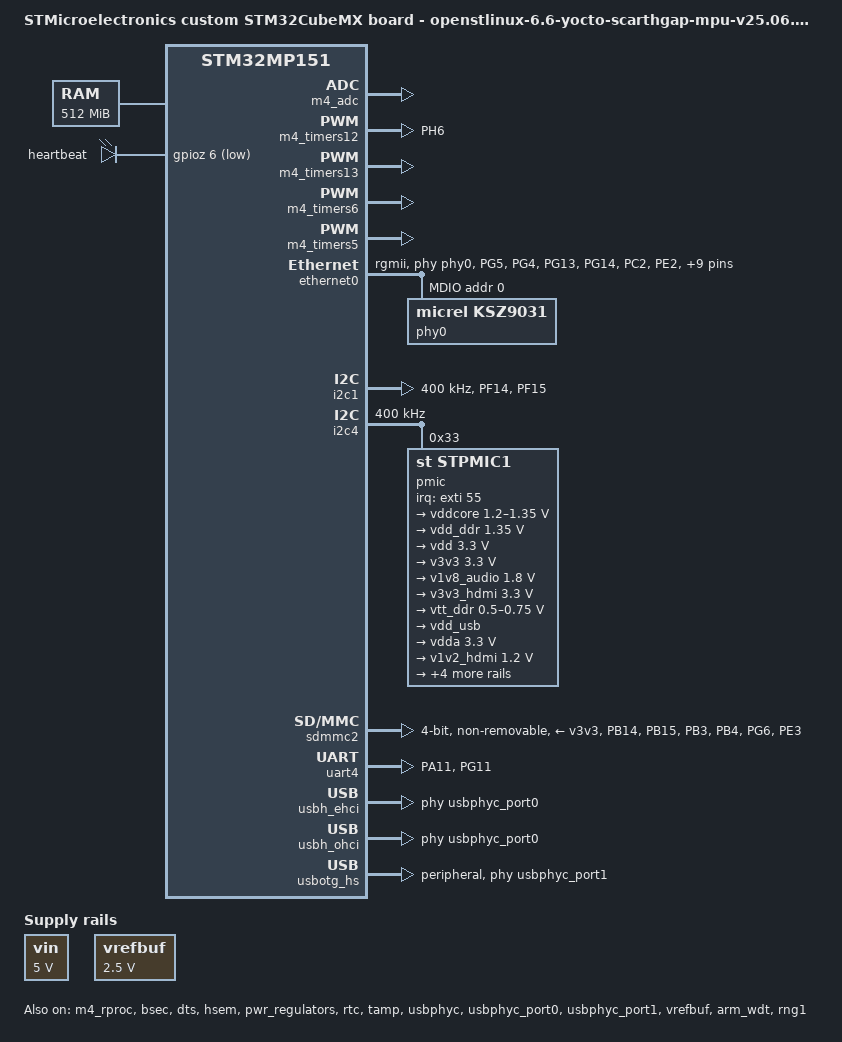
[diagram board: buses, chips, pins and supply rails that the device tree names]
// SPDX-License-Identifier: (GPL-2.0-or-later OR BSD-3-Clause)
/*
 * Copyright (C) 2025, STMicroelectronics - All Rights Reserved
 * Author: STM32CubeMX code generation for STMicroelectronics.
 */

/* For more information on Device Tree configuration, please refer to
 * https://wiki.st.com/stm32mpu/wiki/Category:Device_tree_configuration
 */

/dts-v1/;

#include <dt-bindings/pinctrl/stm32-pinfunc.h>
#include "stm32mp151.dtsi"
#include "stm32mp15xa.dtsi"
#include "stm32mp15xxac-pinctrl.dtsi"
#include "stm32mp15-m4-srm.dtsi"

/* USER CODE BEGIN includes */
#include "stm32mp15-scmi.dtsi"
#include <dt-bindings/gpio/gpio.h>
#include <dt-bindings/mfd/st,stpmic1.h>
#include <dt-bindings/rtc/rtc-stm32.h>
#include "stm32mp15-pinctrl.dtsi"
/* USER CODE END includes */

/*UBOOT*/

/ {
	model = "STMicroelectronics custom STM32CubeMX board - openstlinux-6.6-yocto-scarthgap-mpu-v25.06.11";
	compatible = "st,stm32mp151a-ap31085500a-mx", "st,stm32mp151";

	memory@c0000000 {
		device_type = "memory";
		reg = <0xc0000000 0x20000000>;

		/* USER CODE BEGIN memory */
		/* USER CODE END memory */
	};

	reserved-memory {
		#address-cells = <1>;
		#size-cells = <1>;
		ranges;

		/* USER CODE BEGIN reserved-memory */
		mcuram2:mcuram2@10000000{
			compatible = "shared-dma-pool";
			reg = <0x10000000 0x40000>;
			no-map;
		};

		vdev0vring0:vdev0vring0@10040000{
			compatible = "shared-dma-pool";
			reg = <0x10040000 0x1000>;
			no-map;
		};

		vdev0vring1:vdev0vring1@10041000{
			compatible = "shared-dma-pool";
			reg = <0x10041000 0x1000>;
			no-map;
		};

		vdev0buffer:vdev0buffer@10042000{
			compatible = "shared-dma-pool";
			reg = <0x10042000 0x4000>;
			no-map;
		};

		mcu_rsc_table:mcu-rsc-table@10048000{
			compatible = "shared-dma-pool";
			reg = <0x10048000 0x8000>;
			no-map;
		};

		mcuram:mcuram@30000000{
			compatible = "shared-dma-pool";
			reg = <0x30000000 0x40000>;
			no-map;
		};

		retram:retram@38000000{
			compatible = "shared-dma-pool";
			reg = <0x38000000 0x10000>;
			no-map;
		};

		linux,cma{
			compatible = "shared-dma-pool";
			reusable;
			size = <0x8000000>;
			alignment = <0x2000>;
			linux,cma-default;
		};

		optee@de000000{
			reg = <0xde000000 0x2000000>;
			no-map;
		};
		/* USER CODE END reserved-memory */
	};

	/* USER CODE BEGIN root */
	aliases{
		ethernet0 = &ethernet0;
		serial0 = &uart4;
	};

	sound {
		status = "disabled";
	};
	
	config {
		u-boot,boot-led = "heartbeat";
	/*	u-boot,error-led = "error";*/
		u-boot,mmc-env-partition = "u-boot-env";
		st,fastboot-gpios = <&gpioa 13 (GPIO_ACTIVE_LOW | GPIO_PULL_UP)>;
		st,stm32prog-gpios = <&gpioa 14 (GPIO_ACTIVE_LOW | GPIO_PULL_UP)>;
	};

	led{
		compatible = "gpio-leds";

		led-blue{
			label = "heartbeat";
			gpios = <&gpioz 6 GPIO_ACTIVE_LOW>;
			linux,default-trigger = "heartbeat";
			/*linux,default-trigger = "timer";  Change from heartbeat -> timer */
			default-state = "off";
		};
		/*
		led-red {
			label = "error";
			gpios = <&gpioa 13 GPIO_ACTIVE_LOW>;
			default-state = "off";
		};*/
	};
	
	vin:vin{
		compatible = "regulator-fixed";
		regulator-name = "vin";
		regulator-min-microvolt = <5000000>;
		regulator-max-microvolt = <5000000>;
		regulator-always-on;
	};

	chosen{
		#address-cells = <1>;
		#size-cells = <1>;
		ranges;
		stdout-path = "serial0:115200n8";
	};
	/* USER CODE END root */

	clocks{
		/* USER CODE END clocks */
	};

}; /*root*/

&pinctrl {

	eth1_pins_mx: eth1_mx-0 {
		pins1 {
			pinmux = <STM32_PINMUX('G', 5, AF11)>, /* ETH_RGMII_CLK125 */
						<STM32_PINMUX('G', 4, AF11)>, /* ETH_RGMII_GTX_CLK */
						 <STM32_PINMUX('G', 13, AF11)>, /* ETH_RGMII_TXD0 */
						 <STM32_PINMUX('G', 14, AF11)>, /* ETH_RGMII_TXD1 */
						 <STM32_PINMUX('C', 2, AF11)>, /* ETH_RGMII_TXD2 */
						 <STM32_PINMUX('E', 2, AF11)>, /* ETH_RGMII_TXD3 */
						 <STM32_PINMUX('B', 11, AF11)>, /* ETH_RGMII_TX_CTL */
						 <STM32_PINMUX('A', 2, AF11)>, /* ETH_MDIO */
						 <STM32_PINMUX('C', 1, AF11)>; /* ETH_MDC */
					bias-disable;
					drive-push-pull;
					slew-rate = <2>;
		};
		pins2 {
			pinmux = <STM32_PINMUX('C', 4, AF11)>, /* ETH_RGMII_RXD0 */
						 <STM32_PINMUX('C', 5, AF11)>, /* ETH_RGMII_RXD1 */
						 <STM32_PINMUX('B', 0, AF11)>, /* ETH_RGMII_RXD2 */
						 <STM32_PINMUX('B', 1, AF11)>, /* ETH_RGMII_RXD3 */
						 <STM32_PINMUX('A', 1, AF11)>, /* ETH_RGMII_RX_CLK */
						 <STM32_PINMUX('A', 7, AF11)>; /* ETH_RGMII_RX_CTL */
					bias-disable;
		};
	};

	eth1_sleep_pins_mx: eth1_sleep_mx-0 {
		pins {
			pinmux = <STM32_PINMUX('G', 5, ANALOG)>, /* ETH_RGMII_CLK125 */
						<STM32_PINMUX('G', 4, ANALOG)>, /* ETH_RGMII_GTX_CLK */
						 <STM32_PINMUX('G', 13, ANALOG)>, /* ETH_RGMII_TXD0 */
						 <STM32_PINMUX('G', 14, ANALOG)>, /* ETH_RGMII_TXD1 */
						 <STM32_PINMUX('C', 2, ANALOG)>, /* ETH_RGMII_TXD2 */
						 <STM32_PINMUX('E', 2, ANALOG)>, /* ETH_RGMII_TXD3 */
						 <STM32_PINMUX('B', 11, ANALOG)>, /* ETH_RGMII_TX_CTL */
						 <STM32_PINMUX('A', 2, ANALOG)>, /* ETH_MDIO */
						 <STM32_PINMUX('C', 1, ANALOG)>, /* ETH_MDC */
						 <STM32_PINMUX('C', 4, ANALOG)>, /* ETH_RGMII_RXD0 */
						 <STM32_PINMUX('C', 5, ANALOG)>, /* ETH_RGMII_RXD1 */
						 <STM32_PINMUX('B', 0, ANALOG)>, /* ETH_RGMII_RXD2 */
						 <STM32_PINMUX('B', 1, ANALOG)>, /* ETH_RGMII_RXD3 */
						 <STM32_PINMUX('A', 1, ANALOG)>, /* ETH_RGMII_RX_CLK */
						 <STM32_PINMUX('A', 7, ANALOG)>; /* ETH_RGMII_RX_CTL */
		};
	};
  
	/* PWM Add cubeMX */
	m4_tim12_pins_mx: m4_tim12_mx-0 {
		pins {
			pinmux = <STM32_PINMUX('H', 6, RSVD)>; /* TIM12_CH1 */
		};
	};

	/*I2C1*/
	i2c1_pins_mx: i2c1_mx-0 {
		pins {
			pinmux = 	<STM32_PINMUX('F', 14, AF5)>, /* I2C1_SCL */
					<STM32_PINMUX('F', 15, AF5)>; /* I2C1_SDA */
			bias-disable;
			drive-open-drain;
			slew-rate = <0>;
		};
	};

	i2c1_sleep_pins_mx: i2c1_sleep_mx-0 {
		pins {
			pinmux = 	<STM32_PINMUX('F', 14, ANALOG)>, /* I2C1_SCL */
					<STM32_PINMUX('F', 15, ANALOG)>; /* I2C1_SDA */
		};
	};
	/*I2C2*/
	i2c2_pins_mx: i2c2_mx-0 {
		pins {
			pinmux = <STM32_PINMUX('H', 4, AF4)>; /* I2C2_SCL */
			bias-disable;
			drive-open-drain;
			slew-rate = <1>; /*0 Low, 1 medium, .... very high 3*/
		};
	};

	i2c2_sleep_pins_mx: i2c2_sleep_mx-0 {
		pins {
			pinmux = <STM32_PINMUX('H', 4, ANALOG)>; /* I2C2_SCL */
		};
	};
	/*RTC*/
	rtc_pins_mx: rtc_mx-0 {
		pins {
			pinmux = <STM32_PINMUX('I', 8, ANALOG)>; /* RTC_LSCO */
		};
	};

	rtc_sleep_pins_mx: rtc_sleep_mx-0 {
		pins {
			pinmux = <STM32_PINMUX('I', 8, ANALOG)>; /* RTC_LSCO */
		};
	};
	
	sdmmc2_pins_mx: sdmmc2_mx-0 {
	
		pins1 {
			pinmux = <STM32_PINMUX('B', 14, AF9)>, /* SDMMC2_D0 */
				 <STM32_PINMUX('B', 15, AF9)>, /* SDMMC2_D1 */
				 <STM32_PINMUX('B', 3, AF9)>, /* SDMMC2_D2 */
				 <STM32_PINMUX('B', 4, AF9)>, /* SDMMC2_D3 */
				 <STM32_PINMUX('G', 6, AF10)>; /* SDMMC2_CMD */
			slew-rate = <1>;
			drive-push-pull;
			bias-pull-up;
		};
		pins2 {
			pinmux = <STM32_PINMUX('E', 3, AF9)>; /* SDMMC2_CK */
			slew-rate = <2>;
			drive-push-pull;
			bias-pull-up;
		};
	};
	/*still in push pull mode?*/
	sdmmc2_opendrain_pins_mx: sdmmc2_opendrain_mx-0 {
		pins1 {
			pinmux = <STM32_PINMUX('B', 3, AF9)>, /* SDMMC2_D2 */
					 <STM32_PINMUX('B', 4, AF9)>, /* SDMMC2_D3 */
					 <STM32_PINMUX('B', 15, AF9)>; /* SDMMC2_D1 */
			bias-disable;
			drive-push-pull;
			slew-rate = <1>;
		};
		pins2 {
			pinmux = <STM32_PINMUX('B', 14, AF9)>, /* SDMMC2_D0 */
					 <STM32_PINMUX('E', 3, AF9)>; /* SDMMC2_CK */
			bias-pull-up;
			drive-push-pull;
			slew-rate = <1>;
		};
		pins3 {
			pinmux = <STM32_PINMUX('G', 6, AF10)>; /* SDMMC2_CMD */
			bias-pull-up;
			drive-open-drain;
			slew-rate = <1>;
		};
	};

	sdmmc2_sleep_pins_mx: sdmmc2_sleep_mx-0 {
		pins {
			pinmux =  <STM32_PINMUX('B', 3, ANALOG)>, /* SDMMC2_D2 */
					 <STM32_PINMUX('B', 4, ANALOG)>, /* SDMMC2_D3 */
					 <STM32_PINMUX('B', 14, ANALOG)>, /* SDMMC2_D0 */
					 <STM32_PINMUX('B', 15, ANALOG)>, /* SDMMC2_D1 */
					 <STM32_PINMUX('E', 3, ANALOG)>, /* SDMMC2_CK */
					 <STM32_PINMUX('G', 6, ANALOG)>; /* SDMMC2_CMD */
		};
	};

	uart4_pins_mx: uart4_mx-0 {
		pins1 {
			pinmux = <STM32_PINMUX('A', 11, AF6)>; /* UART4_RX */
			bias-pull-up;
		};
		pins2 {
			pinmux = <STM32_PINMUX('G', 11, AF6)>; /* UART4_TX */
			bias-pull-up;
			drive-push-pull;
			slew-rate = <0>;
		};
	};

	uart4_idle_pins_mx: uart4_idle_mx-0 {
		pins1 {
			pinmux = <STM32_PINMUX('A', 11, AF6)>; /* UART4_RX */
			bias-pull-up;
		};
		pins2 {
			pinmux = <STM32_PINMUX('G', 11, ANALOG)>; /* UART4_TX */
		};
	};

	uart4_sleep_pins_mx: uart4_sleep_mx-0 {
		pins {
			pinmux = <STM32_PINMUX('A', 11, AF6)>, /* UART4_RX */
					 <STM32_PINMUX('G', 11, ANALOG)>; /* UART4_TX */
		};
	};
	/* USER CODE BEGIN pinctrl */
	/* USER CODE END pinctrl */
};

&pinctrl_z {
	/* USER CODE BEGIN pinctrl_z */
	i2c4_pins_z_mx: i2c4_mx-0 {
		pins {
			pinmux = <STM32_PINMUX('Z', 4, AF6)>, /* I2C4_SCL */
				<STM32_PINMUX('Z', 5, AF6)>; /* I2C4_SDA */
			bias-disable;
			drive-open-drain;
			slew-rate = <0>;
		};
	};

	i2c4_sleep_pins_z_mx: i2c4_sleep_mx-0 {
		pins {
			pinmux = <STM32_PINMUX('Z', 4, ANALOG)>, /* I2C4_SCL */
					 <STM32_PINMUX('Z', 5, ANALOG)>; /* I2C4_SDA */
		};
	};
	
	/*I2C2*/
	i2c2_pins_z_mx: i2c2_mx-0 {
		pins {
			pinmux = <STM32_PINMUX('Z', 7, AF3)>; /* I2C2_SDA */
			bias-disable;
			drive-open-drain;
			slew-rate = <1>; /*0 Low, 1 medium, .... very high 3*/
		};
	};

	i2c2_sleep_pins_z_mx: i2c2_sleep_mx-0 {
		pins {
			pinmux = <STM32_PINMUX('Z', 7, ANALOG)>; /* I2C2_SDA */
		};
	};
 
	/* USER CODE END pinctrl_z */
};

&m4_rproc{
	status = "okay";

	/* USER CODE BEGIN m4_rproc */
	resets = <&scmi_reset RST_SCMI_MCU>, <&scmi_reset RST_SCMI_MCU_HOLD_BOOT>;
	reset-names = "mcu_rst", "hold_boot";
	/*/delete-property/ st,syscfg-holdboot;*/
	mboxes = <&ipcc 0>, <&ipcc 1>, <&ipcc 2>, <&ipcc 3>;
	mbox-names = "vq0", "vq1", "shutdown", "detach";
	memory-region = <&retram>, <&mcuram>, <&mcuram2>, <&vdev0vring0>,
			<&vdev0vring1>, <&vdev0buffer>, <&mcu_rsc_table>;
	interrupt-parent = <&exti>;
	interrupts = <68 1>;
	wakeup-source;
	/* USER CODE END m4_rproc */

	m4_system_resources{
		status = "okay";

		/* USER CODE BEGIN m4_system_resources */
		/* sottonodi rproc-srm-dev, periferiche che assegni a M4
		serve al kernel, opzionalmente a uboot */
		/* USER CODE END m4_system_resources */
	};
};

/* ADC da CubeMX */
&m4_adc {
	status = "okay";

	/* USER CODE BEGIN m4_adc */
	/* USER CODE END m4_adc */
};

/* PWM da CubeMX */
&m4_timers12 {
	pinctrl-names = "default";
	pinctrl-0 = <&m4_tim12_pins_mx>;
	status = "okay";

	/* USER CODE BEGIN m4_timers12 */
	/* USER CODE END m4_timers12 */
};
&m4_timers13 {

	status = "okay";

	/* USER CODE BEGIN m4_timers12 */
	/* USER CODE END m4_timers12 */
};

&m4_timers6 {
	status = "okay";

	/* USER CODE BEGIN m4_timers6 */
	/* USER CODE END m4_timers6 */
};
&m4_timers5 {
	status = "okay";

	/* USER CODE BEGIN m4_timers6 */
	/* USER CODE END m4_timers6 */
};

/*OTP*/
&bsec{
	status = "okay";

	/* USER CODE BEGIN bsec */
	/* USER CODE END bsec */
};

&cec{
	status = "disabled";
	/* USER CODE BEGIN cec */
	/* USER CODE END cec */
};

&dma1{
	status = "okay";

	/* USER CODE BEGIN dma1 */
	/*resets = <&scmi_reset RST_SCMI_MDMA>;*/
	/* USER CODE END dma1 */
};

&dma2{
	status = "okay";

	/* USER CODE BEGIN dma2 */
	/* USER CODE END dma2 */
};

&dmamux1{
	status = "okay";

	dma-masters = <&dma1 &dma2>;
	dma-channels = <16>;

	/* USER CODE BEGIN dmamux1 */
	/* USER CODE END dmamux1 */
};

&dts {
	status = "okay";

	/* USER CODE BEGIN dts */
	/*Digital temperature sensor*/
	/* USER CODE END dts */
};

&ethernet0{
	/delete-property/ phy-handle;
	pinctrl-names = "default", "sleep";
	pinctrl-0 = <&eth1_pins_mx>;
	pinctrl-1 = <&eth1_sleep_pins_mx>;
	status = "okay";

	/*clocks*/
	st,ext-phyclk;
 
	/* USER CODE BEGIN ethernet0 rgmii-rxid */
	phy-mode = "rgmii";
	max-speed = <1000>;
	phy-handle = <&phy0>;

	mdio0{
		#address-cells = <1>;
		#size-cells = <0>;
		compatible = "snps,dwmac-mdio";

		phy0: ethernet-phy@0 {
		        compatible = "micrel,ksz9031", "ethernet-phy-id0022.1622", "ethernet-phy-ieee802.3-c22";
		         reg = <0>;
         
		         /* STARTING POINT: clock skew */
		        rxc-skew-ps = <2000>;
		        txc-skew-ps = <2000>;

		        /* di norma lasci a default i data/ctl, a meno di layout critico */
		        rxdv-skew-ps = <0>;
		        txen-skew-ps = <0>;
		};
	};
	/* USER CODE END ethernet0 */
};

&hsem{
	status = "okay";

	/* USER CODE BEGIN hsem */
	/* USER CODE END hsem */
};

&i2c1{
	pinctrl-names = "default", "sleep";
	pinctrl-0 = <&i2c1_pins_mx>;
	pinctrl-1 = <&i2c1_sleep_pins_mx>;
	status = "okay";

	/* USER CODE BEGIN i2c1 */
	i2c-scl-rising-time-ns = <185>;
	i2c-scl-falling-time-ns = <20>;
	clock-frequency = <400000>;
	/delete-property/ dmas;
	/delete-property/ dma-names;
	/* USER CODE END i2c1 */
};

&i2c4{
	pinctrl-names = "default", "sleep";
	pinctrl-0 = <&i2c4_pins_z_mx>;
	pinctrl-1 = <&i2c4_sleep_pins_z_mx>;
	status = "okay";

	/* USER CODE BEGIN i2c4 */
	i2c-scl-rising-time-ns = <185>;
	i2c-scl-falling-time-ns = <20>;
	clock-frequency = <400000>;
	/delete-property/ dmas;
	/delete-property/ dma-names;
	clocks = <&scmi_clk CK_SCMI_I2C4>;
	resets = <&scmi_reset RST_SCMI_I2C4>;
 
	pmic: stpmic@33 {
	compatible = "st,stpmic1";
	reg = <0x33>;
	/* interrupts-extended = <&exti_pwr 55 IRQ_TYPE_EDGE_FALLING>;*/
	interrupts-extended = <&exti 55 IRQ_TYPE_EDGE_FALLING>;
	interrupt-controller;
	#interrupt-cells = <2>;
	status = "okay";

		regulators {
			compatible = "st,stpmic1-regulators";
			
			buck1-supply = <&vin>;
			buck2-supply = <&vin>;
			buck3-supply = <&vin>;
			buck4-supply = <&vin>;
			ldo1-supply = <&v3v3>;
			ldo2-supply  = <&vin>;
			ldo3-supply = <&vdd_ddr>;
			ldo4-supply  = <&vin>;
			ldo5-supply  = <&vin>;
			ldo6-supply  = <&v3v3>;
			vref_ddr-supply = <&vin>;
			boost-supply = <&vin>;
			pwr_sw1-supply = <&bst_out>;
			pwr_sw2-supply = <&bst_out>;

			vddcore: buck1 {
				regulator-name = "vddcore";
				regulator-min-microvolt = <1200000>;
				regulator-max-microvolt = <1350000>;
				regulator-always-on;
				regulator-initial-mode = <0>;
				regulator-over-current-protection;
			};

			vdd_ddr: buck2 {
				regulator-name = "vdd_ddr";
				regulator-min-microvolt = <1350000>;
				regulator-max-microvolt = <1350000>;
				regulator-always-on;
				regulator-initial-mode = <0>;
				regulator-over-current-protection;
			};

			vdd: buck3 {
				regulator-name = "vdd";
				regulator-min-microvolt = <3300000>;
				regulator-max-microvolt = <3300000>;
				regulator-always-on;
				st,mask-reset;
				regulator-initial-mode = <0>;
				regulator-over-current-protection;
			};

			v3v3: buck4 {
				regulator-name = "v3v3";
				regulator-min-microvolt = <3300000>;
				regulator-max-microvolt = <3300000>;
				regulator-always-on;
				regulator-over-current-protection;
				regulator-initial-mode = <0>;
			};

			v1v8_audio: ldo1 {
				regulator-name = "v1v8_audio";
				regulator-min-microvolt = <1800000>;
				regulator-max-microvolt = <1800000>;
				regulator-always-on;
				interrupts = <IT_CURLIM_LDO1 0>;
			};

			v3v3_hdmi: ldo2 {
				regulator-name = "v3v3_hdmi";
				regulator-min-microvolt = <3300000>;
				regulator-max-microvolt = <3300000>;
				regulator-always-on;
				interrupts = <IT_CURLIM_LDO2 0>;
			};

			vtt_ddr: ldo3 {
				regulator-name = "vtt_ddr";
				regulator-min-microvolt = <500000>;
				regulator-max-microvolt = <750000>;
				regulator-always-on;
				regulator-over-current-protection;
			};

			vdd_usb: ldo4 {
				regulator-name = "vdd_usb";
				interrupts = <IT_CURLIM_LDO4 0>;
			};

			vdda: ldo5 {
				regulator-name = "vdda";
				regulator-min-microvolt = <3300000>;
				regulator-max-microvolt = <3300000>;
				interrupts = <IT_CURLIM_LDO5 0>;
				regulator-boot-on;
			};

			v1v2_hdmi: ldo6 {
				regulator-name = "v1v2_hdmi";
				regulator-min-microvolt = <1200000>;
				regulator-max-microvolt = <1200000>;
				regulator-always-on;
				interrupts = <IT_CURLIM_LDO6 0>;
			};

			vref_ddr: vref_ddr {
				regulator-name = "vref_ddr";
				regulator-always-on;

			};
			
			bst_out: boost {
				regulator-name = "bst_out";
				interrupts = <IT_OCP_BOOST 0>;
			};

			vbus_otg: pwr_sw1 {
				regulator-name = "vbus_otg";
				interrupts = <IT_OCP_OTG 0>;
			};

			vbus_sw: pwr_sw2 {
				regulator-name = "vbus_sw";
				interrupts = <IT_OCP_SWOUT 0>;
				regulator-active-discharge = <1>;
			};
		};
	};

	/* USER CODE END i2c4 */
};

&i2s2{
	/* USER CODE BEGIN i2s2 */
	status = "disabled";
	/* USER CODE END i2s2 */
};

&ipcc {
	status = "okay";

	/* USER CODE BEGIN ipcc */
	/* USER CODE END ipcc */
};

&ltdc {
	status = "disabled";
	/* USER CODE BEGIN ltdc */

	/* USER CODE END ltdc */
};
#if 0
/*Verificare...*/
&m4_dma2{
	status = "okay";

	/* USER CODE BEGIN m4_dma2 */
	/* USER CODE END m4_dma2 */
};
#endif
&mdma1{
	status = "okay";

	/* USER CODE BEGIN mdma1 */
	resets = <&scmi_reset RST_SCMI_MDMA>;
	/* USER CODE END mdma1 */
};

&pwr_regulators{
	status = "okay";

	/* USER CODE BEGIN pwr_regulators */
	vdd-supply = <&vdd>;
	vdd_3v3_usbfs-supply = <&vdd_usb>;
	/* USER CODE END pwr_regulators */
};

&rcc{
	status = "okay";

	/* USER CODE BEGIN rcc */
	compatible = "st,stm32mp1-rcc-secure", "syscon";
	clock-names = "hse", "hsi", "csi", "lse", "lsi";
	clocks = <&scmi_clk CK_SCMI_HSE>,
		 <&scmi_clk CK_SCMI_HSI>,
		 <&scmi_clk CK_SCMI_CSI>,
		 <&scmi_clk CK_SCMI_LSE>,
		 <&scmi_clk CK_SCMI_LSI>;
	/* USER CODE END rcc */
};

&rtc{
	status = "okay";

	/* USER CODE BEGIN rtc */
	clocks = <&scmi_clk CK_SCMI_RTCAPB>, <&scmi_clk CK_SCMI_RTC>;
	/* USER CODE END rtc */
};

&sdmmc2{
	pinctrl-names = "default", "opendrain", "sleep";
	pinctrl-0 = <&sdmmc2_pins_mx>;
	pinctrl-1 = <&sdmmc2_opendrain_pins_mx>;
	pinctrl-2 = <&sdmmc2_sleep_pins_mx>;
	status = "okay";

	/* USER CODE BEGIN sdmmc2 */
	non-removable;
	no-sd;
	no-sdio;
	st,neg-edge;
	bus-width = <4>;
	vmmc-supply = <&v3v3>;
	vqmmc-supply = <&vdd>;
	mmc-ddr-3_3v;
	/* USER CODE END sdmmc2 */
};

&tamp{
	status = "okay";

	/* USER CODE BEGIN tamp */
	/* USER CODE END tamp */
};

&uart4{
	pinctrl-names = "default", "idle", "sleep";
	pinctrl-0 = <&uart4_pins_mx>;
	pinctrl-1 = <&uart4_idle_pins_mx>;
	pinctrl-2 = <&uart4_sleep_pins_mx>;
	status = "okay";

	/* USER CODE BEGIN uart4 */
	/delete-property/ dmas;
	/delete-property/ dma-names;
	u-boot,bootph-pre-ram;
	/* USER CODE END uart4 */
};

&usbh_ehci{
	status = "okay";

	/* USER CODE BEGIN usbh_ehci */
	phys = <&usbphyc_port0>;
	phy-names="usb";
	#address-cells = <1>;
	#size-cells = <0>;
	/* USER CODE END usbh_ehci */
};

&usbh_ohci{
	/* USER CODE BEGIN usbh_ohci */
	phys = <&usbphyc_port0>;
	phy-names="usb";
	status = "ok";
	/* USER CODE END usbh_ohci */
};

&usbotg_hs {
	status = "okay";

	/* USER CODE BEGIN usbotg_hs */
	phys = <&usbphyc_port1 0>;
	phy-names = "usb2-phy";
	usb-role-switch;
	u-boot,bootph-pre-ram;                        
	u-boot,force-b-session-valid;
	hnp-srp-disable;
	dr_mode = "peripheral";  
	/* USER CODE END usbotg_hs */
};

&usbphyc{
	status = "okay";

	/* USER CODE BEGIN usbphyc */
	/* USER CODE END usbphyc */
};

&usbphyc_port0{
	status = "okay";

	/* USER CODE BEGIN usbphyc_port0 */
	phy-supply = <&vdd_usb>;
	st,tune-hs-dc-level = <2>;
	st,enable-fs-rftime-tuning;
	st,enable-hs-rftime-reduction;
	st,trim-hs-current = <15>;
	st,trim-hs-impedance = <1>;
	st,tune-squelch-level = <3>;
	st,tune-hs-rx-offset = <2>;
	st,no-lsfs-sc;
	/* USER CODE END usbphyc_port0 */
};

&usbphyc_port1{
	status = "okay";

	/* USER CODE BEGIN usbphyc_port1 */
	phy-supply = <&vdd_usb>;
	st,tune-hs-dc-level = <2>;
	st,enable-fs-rftime-tuning;
	st,enable-hs-rftime-reduction;
	st,trim-hs-current = <15>;
	st,trim-hs-impedance = <1>;
	st,tune-squelch-level = <3>;
	st,tune-hs-rx-offset = <2>;
	st,no-lsfs-sc;
	/* USER CODE END usbphyc_port1 */
};

&vrefbuf {
	status = "okay";
	/* USER CODE BEGIN vrefbuf */
	regulator-min-microvolt = <2500000>;
	regulator-max-microvolt = <2500000>;
	vdda-supply = <&vdd>;
	/* USER CODE END vrefbuf */
};
/* USER CODE BEGIN addons */

&arm_wdt{
	timeout-sec = <32>;
	status = "okay";
};

&cpu0 {
	cpu-supply = <&vddcore>;
	clocks = <&scmi_clk CK_SCMI_MPU>;
};

&uart4_pins_mx {
	u-boot,bootph-pre-ram;
	pins1 {
		u-boot,bootph-pre-ram;
	};
	pins2 {
		u-boot,bootph-pre-ram;
	};
};
&gpioz {
	clocks = <&scmi_clk CK_SCMI_GPIOZ>;
};

&iwdg2 {
	clocks = <&rcc IWDG2>, <&scmi_clk CK_SCMI_LSI>;
};

&rng1 {
	status = "okay";
	clocks = <&scmi_clk CK_SCMI_RNG1>;
	resets = <&scmi_reset RST_SCMI_RNG1>;
};


&usbh_ohci{
	phys = <&usbphyc_port0>;
};
/* USER CODE END addons */

